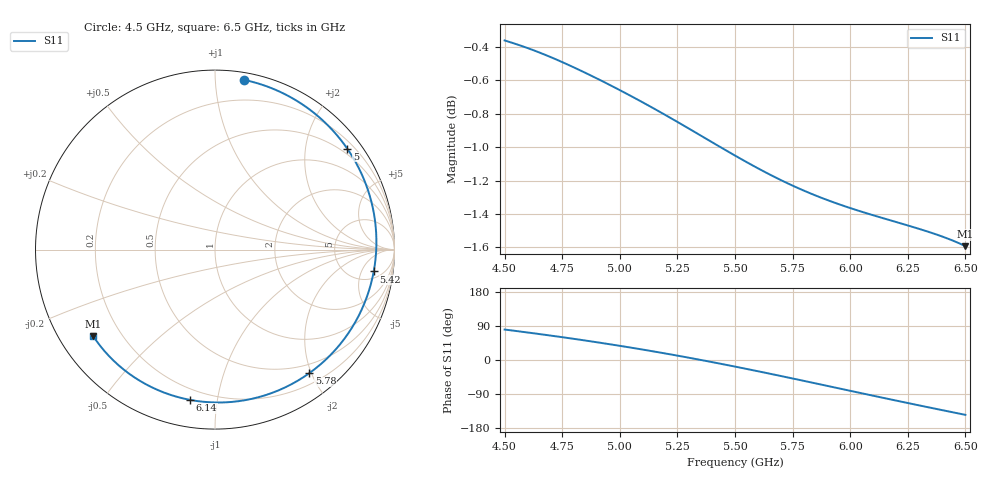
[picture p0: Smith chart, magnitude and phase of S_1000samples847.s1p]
! TOUCHSTONE file generated by CST MICROWAVE STUDIO
! Date and time: Sat Oct 29 14:19:50 2022
! Project name: L.cst
! Parameters = {Di=1.27; Epsilon_r=1.56; InnerDiameter=1.27; Length=2; Lf=10; Lg=60; OuterConductorThickness=0.2921; OuterDiameter=3.6; Wf=3; Wp=41.2; de=1.5; df=6.8; g=0.8; gx=3.49092; gy=1.39626; h=2.34; hf=1.524; px=8.01644; py=9.84332; w=9.7; wx=4.52551; wy=8.44706}
! Header version: 2018
! Port assignment regex: !\s*Touchstone port\s*([0-9]+)\s*=\s*(CST MWS port|CST DS port)\s*([0-9]+|Zmin|Zmax)\s*\(\"(.*)\"\)(\s*mode\s*([0-9]+))?.*
! Touchstone port assignment:
! Touchstone port 1 = CST MWS port 1 ("")
# GHz S DB R 50
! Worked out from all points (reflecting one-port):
!   101 points, 4.5 GHz to 6.5 GHz, reference 50 ohm
!   lowest |S11| = -1.6 dB at 6.5 GHz (marker M1), VSWR 10.94, Z = 5.03 - j15.7 ohm
!   phase of S11 starts at 80 deg and turns -225 deg over the sweep
!   S11 on the Smith chart (normalised r, x): 4.5 GHz: 0.05, +1.18; 5 GHz: 0.36, +2.91; 5.42 GHz: 7, -9; 5.78 GHz: 0.36, -1.97; 6.14 GHz: 0.14, -0.84; 6.5 GHz: 0.10, -0.31
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4.5  -0.36 80.3
4.64  -0.43 69.4
4.76  -0.50 59.3
4.88  -0.57 48.7
5  -0.66 37.4
5.08  -0.72 29.5
5.14  -0.76 23.3
5.2  -0.81 17.0
5.26  -0.86 10.4
5.34  -0.92 1.4
5.42  -0.99 -7.8
5.5  -1.05 -17.4
5.56  -1.10 -24.8
5.62  -1.14 -32.2
5.68  -1.18 -39.8
5.76  -1.24 -50.1
5.78  -1.25 -52.7
5.84  -1.28 -60.4
5.9  -1.32 -68.2
6  -1.36 -81.3
6.06  -1.39 -89.1
6.14  -1.42 -99.5
6.2  -1.45 -107.2
6.26  -1.47 -114.8
6.32  -1.50 -122.4
6.38  -1.53 -129.9
6.44  -1.56 -137.3
6.5  -1.59 -144.7
